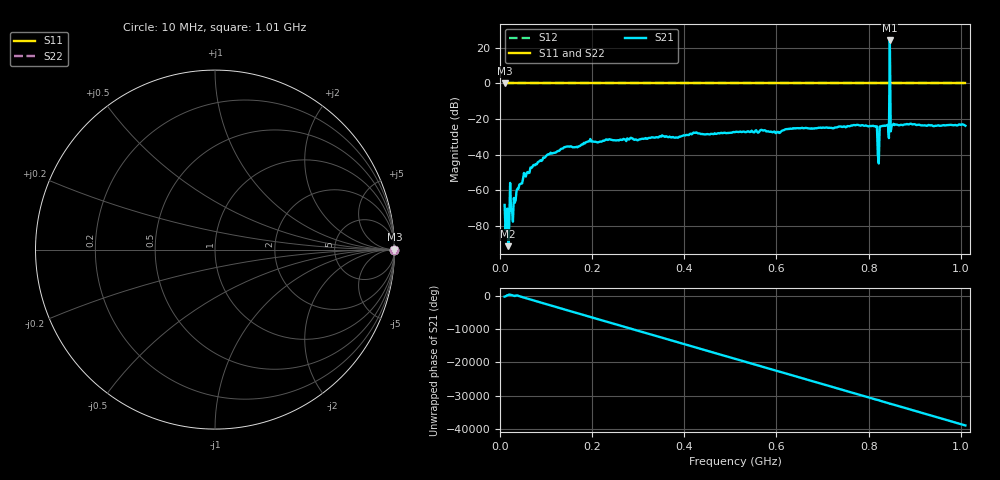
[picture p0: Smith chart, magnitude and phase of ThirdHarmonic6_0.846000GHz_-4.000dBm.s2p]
! 8/16/2025 4:01:00 AM
! C:\ANRITSUVNA\TEMP\TEMP.S2P
! CHANNEL.1
! TR.MEASUREMENT
! RAW.DATA
! RF.CORRECTION.OFF
! AVERAGING.OFF
! IF.BANDWIDTH: 5KHZ
! SWEEPTYPE:  FREQ.SWEEP(Linear)
! Reference Plane Port Info
! PORT:  PORT1  PORT2
! DISTANCE:  0  m  0  m
! TIME:  0  s  0  s
! PHASE.OFFSET:  0  deg.  0  deg.
! LOSS:  0  dB  0  dB
! REF.LOSS:  0  dB  0  dB
! REF.FREQ:  0  Hz  0  Hz
! Power Info
! POWER:  -20  dBm  -20  dBm
! EFF.POWER:  -20  dBm  -20  dBm
! SOURCE.ATTEN:  0  dB  0  dB
! TEST.ATTEN:  0  dB  0  dB
# GHZ S RI R 50.0
! FREQ.GHZ  S11RE  S11IM  S21RE  S21IM  S12RE  S12IM  S22RE  S22IM
!; PortSelection: Port_12
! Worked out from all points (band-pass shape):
!   501 points, 10 MHz to 1.01 GHz, reference 50 ohm
!   highest |S21| = 23.98 dB at 846 MHz (marker M1); lowest = -91.2 dB at 18 MHz (marker M2)
!   |S21| within 3 dB of the highest: 845.8903 MHz to 846.1179 MHz (227.6 kHz wide, 0.0269 % of centre)
!   lowest |S11| = 0.0 dB at 10 MHz (marker M3)
!   |S11| at or under -10 dB: nowhere
!   |S22| runs from 0.0 to 0.0 dB; largest |S21 - S12| = 16
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0.01  1 0  -0.00036 -0.000159  1 0  1 0
0.016  1 0  6.2e-06 -0.000311  1 0  1 0
0.018  1 0  1.85e-05 -2.05e-05  1 0  1 0
0.03  1 0  -8.14e-05 0.000611  1 0  1 0
0.04  1 0  0.000744 0.000834  1 0  1 0
0.07  1 0  -0.0013 -0.0043  1 0  1 0
0.106  1 0  -0.0072 -0.00714  1 0  1 0
0.178  1 0  -0.0192 -0.00424  1 0  1 0
0.344  1 0  0.03 -0.00602  1 0  1 0
0.51  1 0  -0.0408 0.0135  1 0  1 0
0.678  1 0  -0.0207 -0.0494  1 0  1 0
0.814  1 0  -0.062 0.0118  1 0  1 0
0.82  1 0  0.00948 -0.00335  1 0  1 0
0.824  1 0  -0.0407 0.046  1 0  1 0
0.828  1 0  0.055 -0.0309  1 0  1 0
0.84  1 0  -0.0587 -0.0328  1 0  1 0
0.842  1 0  -0.0449 0.0522  1 0  1 0
0.844  1 0  0.02 0.0213  1 0  1 0
0.846  1 0  -6.116 -14.57  1 0  1 0
0.85  1 0  -0.0615 0.0175  1 0  1 0
0.852  1 0  0.00444 0.0687  1 0  1 0
1.01  1 0  -0.0606 -0.0235  1 0  1 0
